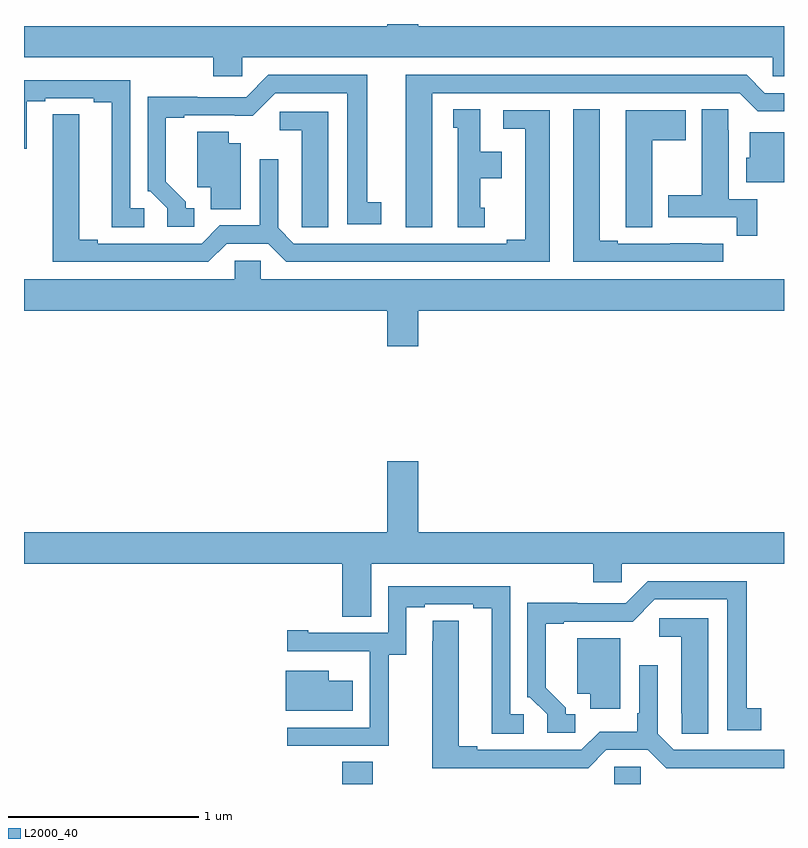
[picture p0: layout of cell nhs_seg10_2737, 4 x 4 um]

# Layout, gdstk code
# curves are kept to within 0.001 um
import gdstk
lib = gdstk.Library(unit=1e-6, precision=1e-09)
def R(c, l, rs):  # rectangles x0, y0, x1, y1
    for r in rs: c.add(gdstk.rectangle(r[:2], r[2:], *l))
def P(c, l, *ps):  # polygons
    for p in ps: c.add(gdstk.Polygon(p, *l))
L2000_40 = (2000, 40)

nhs_seg10_2737 = lib.new_cell('nhs_seg10_2737')
R(nhs_seg10_2737, L2000_40, [(260.675,1288.5,260.835,1288.616), (262.107,1288.5,262.245,1288.59)])
P(nhs_seg10_2737, L2000_40, [(260.148,1292.324),(262.941,1292.324),(262.941,1292.226),(263,1292.226),(263,1292.488),(261.076,1292.488),(261.076,1292.5),(260.912,1292.5),(260.912,1292.488),(259,1292.488),(259,1292.324),(259.997,1292.324),(259.997,1292.226),(260.148,1292.226)],
  [(261.148,1292.136),(262.767,1292.136),(262.863,1292.04),(263,1292.04),(263,1292.136),(262.899,1292.136),(262.803,1292.232),(261.008,1292.232),(261.008,1291.431),(261.148,1291.431)],
  [(259.897,1291.53),(259.852,1291.53),(259.852,1291.565),(259.747,1291.67),(259.747,1292.007),(259.843,1292.007),(259.843,1292.019),(260.204,1292.018),(260.322,1292.136),(260.702,1292.136),(260.702,1291.446),(260.881,1291.446),(260.881,1291.562),(260.806,1291.562),(260.806,1292.232),(260.286,1292.232),(260.169,1292.115),(259.913,1292.115),(259.913,1292.117),(259.65,1292.117),(259.65,1291.62),(259.665,1291.62),(259.755,1291.53),(259.755,1291.434),(259.897,1291.434)],
  [(259.633,1291.53),(259.56,1291.53),(259.56,1292.205),(259,1292.205),(259,1291.843),(259.015,1291.843),(259.015,1292.094),(259.111,1292.094),(259.111,1292.109),(259.367,1292.109),(259.367,1292.089),(259.463,1292.089),(259.463,1291.429),(259.633,1291.429)],
  [(262.859,1291.578),(262.708,1291.578),(262.708,1291.94),(262.707,1291.94),(262.707,1292.051),(262.568,1292.051),(262.568,1291.599),(262.391,1291.599),(262.391,1291.482),(262.75,1291.482),(262.75,1291.386),(262.859,1291.386)],
  [(261.424,1291.533),(261.4,1291.533),(261.4,1291.688),(261.514,1291.688),(261.514,1291.828),(261.4,1291.828),(261.4,1292.051),(261.26,1292.051),(261.26,1291.953),(261.284,1291.953),(261.284,1291.431),(261.424,1291.431)],
  [(262.681,1291.344),(262.568,1291.344),(262.568,1291.345),(262.402,1291.345),(262.402,1291.344),(262.126,1291.344),(262.126,1291.359),(262.03,1291.359),(262.03,1292.051),(261.89,1292.051),(261.89,1291.248),(262.681,1291.248)],
  [(262.306,1291.888),(262.483,1291.888),(262.483,1292.047),(262.166,1292.047),(262.166,1291.537),(262.167,1291.537),(262.167,1291.429),(262.306,1291.429)],
  [(260.067,1291.344),(260.285,1291.344),(260.381,1291.248),(261.766,1291.248),(261.766,1292.046),(261.522,1292.046),(261.522,1291.95),(261.638,1291.95),(261.638,1291.364),(261.542,1291.364),(261.542,1291.344),(260.421,1291.344),(260.337,1291.428),(260.337,1291.789),(260.241,1291.789),(260.241,1291.44),(260.031,1291.44),(259.935,1291.344),(259.387,1291.344),(259.387,1291.364),(259.291,1291.364),(259.291,1292.024),(259.152,1292.024),(259.151,1291.248),(259.971,1291.248)],
  [(260.602,1292.037),(260.346,1292.037),(260.346,1291.94),(260.462,1291.94),(260.462,1291.537),(260.463,1291.537),(260.463,1291.429),(260.602,1291.429)],
  [(260.14,1291.873),(260.077,1291.873),(260.077,1291.934),(259.913,1291.934),(259.913,1291.64),(259.982,1291.64),(259.982,1291.525),(260.14,1291.525)],
  [(263,1291.93),(262.82,1291.93),(262.82,1291.797),(262.802,1291.797),(262.802,1291.667),(263,1291.667)],
  [(261.076,1290.992),(263,1290.992),(263,1291.156),(260.247,1291.156),(260.247,1291.254),(260.109,1291.254),(260.109,1291.156),(259,1291.156),(259,1290.992),(260.912,1290.992),(260.912,1290.804),(261.076,1290.804)],
  [(260.827,1289.66),(261.995,1289.66),(261.995,1289.562),(262.146,1289.562),(262.146,1289.66),(263,1289.66),(263,1289.824),(261.076,1289.824),(261.076,1290.199),(260.912,1290.199),(260.912,1289.824),(259,1289.824),(259,1289.66),(260.675,1289.66),(260.675,1289.38),(260.827,1289.38)],
  [(261.901,1288.866),(261.85,1288.866),(261.85,1288.901),(261.745,1289.006),(261.745,1289.343),(261.841,1289.343),(261.841,1289.355),(262.203,1289.355),(262.32,1289.472),(262.7,1289.472),(262.7,1288.782),(262.879,1288.782),(262.879,1288.898),(262.804,1288.898),(262.804,1289.568),(262.284,1289.568),(262.167,1289.451),(261.911,1289.451),(261.911,1289.453),(261.648,1289.453),(261.648,1288.956),(261.663,1288.956),(261.753,1288.866),(261.753,1288.77),(261.901,1288.77)],
  [(260.919,1289.179),(261.013,1289.179),(261.013,1289.43),(261.109,1289.43),(261.109,1289.445),(261.365,1289.445),(261.365,1289.425),(261.461,1289.425),(261.461,1288.765),(261.631,1288.765),(261.631,1288.866),(261.558,1288.866),(261.558,1289.541),(260.916,1289.541),(260.916,1289.295),(260.497,1289.295),(260.497,1289.308),(260.385,1289.308),(260.385,1289.199),(260.819,1289.199),(260.819,1289.198),(260.82,1289.198),(260.82,1288.797),(260.385,1288.797),(260.385,1288.701),(260.919,1288.701)],
  [(262.6,1289.373),(262.344,1289.373),(262.344,1289.276),(262.46,1289.276),(262.46,1288.873),(262.461,1288.873),(262.461,1288.765),(262.6,1288.765)],
  [(262.065,1288.68),(262.283,1288.68),(262.379,1288.584),(263,1288.584),(263,1288.68),(262.419,1288.68),(262.335,1288.764),(262.335,1289.125),(262.239,1289.125),(262.239,1288.873),(262.227,1288.873),(262.227,1288.776),(262.029,1288.776),(261.933,1288.68),(261.385,1288.68),(261.385,1288.7),(261.289,1288.7),(261.289,1289.36),(261.15,1289.36),(261.149,1288.584),(261.969,1288.584)],
  [(262.138,1289.266),(261.911,1289.266),(261.911,1288.976),(261.98,1288.976),(261.98,1288.896),(262.138,1288.896)],
  [(260.731,1289.044),(260.605,1289.044),(260.605,1289.095),(260.378,1289.095),(260.378,1288.886),(260.731,1288.886)])

lib.write_gds('nhs_seg10_2737.gds')
